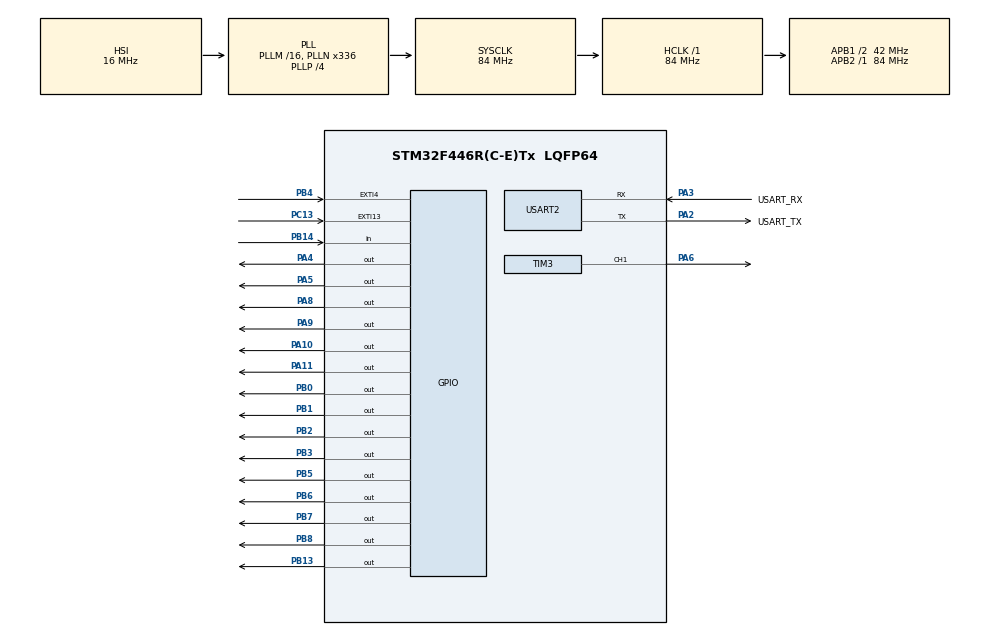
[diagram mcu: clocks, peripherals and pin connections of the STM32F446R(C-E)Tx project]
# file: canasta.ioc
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FREERTOS.Events01=Triple,Dynamic,NULL;Boton,Dynamic,NULL
FREERTOS.Mutexes01=myMutex01,Dynamic,NULL
FREERTOS.Queues01=myQueue01,3,uint8_t*,0,Dynamic,NULL,NULL;queueLeer,1,char*,0,Dynamic,NULL,NULL
FREERTOS.Tasks01=defaultTask,24,256,StartDefaultTask,Default,NULL,Dynamic,NULL,NULL;myTaskADC,8,256,StartTask02,Default,NULL,Dynamic,NULL,NULL;myTask03,8,256,StartTask03,Default,&canastas,Dynamic,NULL,NULL;myTask04,8,256,StartTask04,Default,NULL,Dynamic,NULL,NULL;myTask05,8,128,StartTask05,Default,NULL,Dynamic,NULL,NULL;myTask06,8,256,StartTask06,Default,&canastas,Dynamic,NULL,NULL
Mcu.Family=STM32F4
Mcu.Name=STM32F446R(C-E)Tx
Mcu.Package=LQFP64
NVIC.EXTI15_10_IRQn=true\:5\:0\:false\:false\:true\:true\:true\:true\:true
NVIC.EXTI4_IRQn=true\:5\:0\:false\:false\:true\:true\:true\:true\:true
NVIC.PriorityGroup=NVIC_PRIORITYGROUP_4
NVIC.USART2_IRQn=true\:5\:0\:false\:false\:true\:true\:true\:true\:true
PA0-WKUP.Signal=ADCx_IN0
PA1.Signal=ADCx_IN1
PA10.Signal=GPIO_Output
PA11.Signal=GPIO_Output
PA13.GPIO_Label=TMS
PA13.Mode=Serial_Wire
PA13.Signal=SYS_JTMS-SWDIO
PA14.GPIO_Label=TCK
PA14.Mode=Serial_Wire
PA14.Signal=SYS_JTCK-SWCLK
PA2.GPIO_Label=USART_TX
PA2.Mode=Asynchronous
PA2.Signal=USART2_TX
PA3.GPIO_Label=USART_RX
PA3.Mode=Asynchronous
PA3.Signal=USART2_RX
PA4.Signal=GPIO_Output
PA5.Signal=GPIO_Output
PA6.Signal=S_TIM3_CH1
PA8.Signal=GPIO_Output
PA9.Signal=GPIO_Output
PB0.Signal=GPIO_Output
PB1.Signal=GPIO_Output
PB13.Signal=GPIO_Output
PB14.GPIO_PuPd=GPIO_NOPULL
PB14.Signal=GPIO_Input
PB2.Signal=GPIO_Output
PB3.Signal=GPIO_Output
PB4.GPIO_ModeDefaultEXTI=GPIO_MODE_IT_RISING
PB4.GPIO_PuPd=GPIO_PULLDOWN
PB4.Signal=GPXTI4
PB5.Signal=GPIO_Output
PB6.Signal=GPIO_Output
PB7.Signal=GPIO_Output
PB8.Signal=GPIO_Output
PC13.Signal=GPXTI13
PC14-OSC32_IN.Mode=LSE-External-Oscillator
PC14-OSC32_IN.Signal=RCC_OSC32_IN
PC15-OSC32_OUT.Mode=LSE-External-Oscillator
PC15-OSC32_OUT.Signal=RCC_OSC32_OUT
PH0-OSC_IN.Mode=HSE-External-Oscillator
PH0-OSC_IN.Signal=RCC_OSC_IN
PH1-OSC_OUT.Mode=HSE-External-Oscillator
PH1-OSC_OUT.Signal=RCC_OSC_OUT
ProjectManager.HeapSize=0x200
ProjectManager.StackSize=0x400
ProjectManager.TargetToolchain=STM32CubeIDE
RCC.48MHZClocksFreq_Value=84000000
RCC.AHBFreq_Value=84000000
RCC.APB1CLKDivider=RCC_HCLK_DIV2
RCC.APB1Freq_Value=42000000
RCC.APB1TimFreq_Value=84000000
RCC.APB2Freq_Value=84000000
RCC.APB2TimFreq_Value=84000000
RCC.CortexFreq_Value=84000000
RCC.FLatency-AdvancedSettings=FLASH_LATENCY_2
RCC.HCLKFreq_Value=84000000
RCC.HSE_VALUE=8000000
RCC.HSI_VALUE=16000000
RCC.PLLN=336
RCC.PLLP=RCC_PLLP_DIV4
RCC.SYSCLKFreq_VALUE=84000000
RCC.SYSCLKSource=RCC_SYSCLKSOURCE_PLLCLK
RCC.USBFreq_Value=168000000
RCC.VCOOutputFreq_Value=336000000
SH.ADCx_IN0.0=ADC1_IN0
SH.ADCx_IN1.0=ADC1_IN1
SH.S_TIM3_CH1.0=TIM3_CH1,PWM Generation1 CH1
TIM3.Channel-PWM\ Generation1\ CH1=TIM_CHANNEL_1
TIM3.Prescaler=83
USART2.VirtualMode=VM_ASYNC
VP_FREERTOS_VS_CMSIS_V2.Mode=CMSIS_V2
board=NUCLEO-F446RE

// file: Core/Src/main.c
/* USER CODE BEGIN Header */
/**
 ******************************************************************************
 * @file           : main.c
 * @brief          : Main program body
 ******************************************************************************
 * @attention
 *
 * Copyright (c) 2025 STMicroelectronics.
 * All rights reserved.
 *
 * This software is licensed under terms that can be found in the LICENSE file
 * in the root directory of this software component.
 * If no LICENSE file comes with this software, it is provided AS-IS.
 *
 ******************************************************************************
 */
/* USER CODE END Header */
#include "main.h"
#include "cmsis_os.h"

/* USER CODE BEGIN Includes */
#include "stdio.h"
#include "string.h"
#include "stdlib.h"
/* USER CODE END Includes */

/* USER CODE BEGIN PD */
#define SEG_PORT GPIOB
#define DIG_PORT GPIOA
#define INFLARROJO_PORT GPIOB
#define LEDS_PORT GPIOA

#define SEG_A_PIN  GPIO_PIN_5
#define SEG_B_PIN  GPIO_PIN_7
#define SEG_C_PIN  GPIO_PIN_2
#define SEG_D_PIN  GPIO_PIN_1
#define SEG_E_PIN  GPIO_PIN_0
#define SEG_F_PIN  GPIO_PIN_6
#define SEG_G_PIN  GPIO_PIN_3

#define DIG_1_PIN  GPIO_PIN_9
#define DIG_2_PIN  GPIO_PIN_10
#define DIG_3_PIN  GPIO_PIN_11
#define DIG_4_PIN  GPIO_PIN_8

#define LED_ROJO  GPIO_PIN_4
#define LED_AMARILLO GPIO_PIN_5

#define TRIGGER_PIN GPIO_PIN_13
#define ECHO_PIN GPIO_PIN_14

#define EV_VIB   0x00000001U  // Bit 0
#define EV_PROX  0x00000002U  // Bit 1
#define EV_CANASTA 0x00000004U
#define EV_ACTUALIZA 0x00000008U

#define EV_PULSADO 0x00000001U

/* USER CODE END PD */

TIM_HandleTypeDef htim3;

UART_HandleTypeDef huart2;

/* Definitions for defaultTask */
osThreadId_t defaultTaskHandle;
const osThreadAttr_t defaultTask_attributes = {
  .name = "defaultTask",
  .stack_size = 256 * 4,
  .priority = (osPriority_t) osPriorityNormal,
};
/* Definitions for myTaskADC */
osThreadId_t myTaskADCHandle;
const osThreadAttr_t myTaskADC_attributes = {
  .name = "myTaskADC",
  .stack_size = 256 * 4,
  .priority = (osPriority_t) osPriorityLow,
};
/* Definitions for myTask03 */
osThreadId_t myTask03Handle;
const osThreadAttr_t myTask03_attributes = {
  .name = "myTask03",
  .stack_size = 256 * 4,
  .priority = (osPriority_t) osPriorityLow,
};
/* Definitions for myTask04 */
osThreadId_t myTask04Handle;
const osThreadAttr_t myTask04_attributes = {
  .name = "myTask04",
  .stack_size = 256 * 4,
  .priority = (osPriority_t) osPriorityLow,
};
/* Definitions for myTask05 */
osThreadId_t myTask05Handle;
const osThreadAttr_t myTask05_attributes = {
  .name = "myTask05",
  .stack_size = 128 * 4,
  .priority = (osPriority_t) osPriorityLow,
};
/* Definitions for myTask06 */
osThreadId_t myTask06Handle;
const osThreadAttr_t myTask06_attributes = {
  .name = "myTask06",
  .stack_size = 256 * 4,
  .priority = (osPriority_t) osPriorityLow,
};
/* Definitions for myQueue01 */
osMessageQueueId_t myQueue01Handle;
const osMessageQueueAttr_t myQueue01_attributes = {
  .name = "myQueue01"
};
/* Definitions for queueLeer */
osMessageQueueId_t queueLeerHandle;
const osMessageQueueAttr_t queueLeer_attributes = {
  .name = "queueLeer"
};
/* Definitions for myMutex01 */
osMutexId_t myMutex01Handle;
const osMutexAttr_t myMutex01_attributes = {
  .name = "myMutex01"
};
/* Definitions for Triple */
osEventFlagsId_t TripleHandle;
const osEventFlagsAttr_t Triple_attributes = {
  .name = "Triple"
};
/* Definitions for Boton */
osEventFlagsId_t BotonHandle;
const osEventFlagsAttr_t Boton_attributes = {
  .name = "Boton"
};
/* USER CODE BEGIN PV */
uint8_t rx_buff[1];
/* USER CODE END PV */

void SystemClock_Config(void);
static void MX_GPIO_Init(void);
static void MX_USART2_UART_Init(void);
static void MX_TIM3_Init(void);
void StartDefaultTask(void *argument);
void StartTask02(void *argument);
void StartTask03(void *argument);
void StartTask04(void *argument);
void StartTask05(void *argument);
void StartTask06(void *argument);

/* USER CODE BEGIN 0 */
void SEG_AllOff(void);
void SEG_Show(int digito, uint8_t num);
void SEG_WriteSegments(uint8_t numero);
void Canasta_song(void);
void Boton_song(void);
void Tiempo_song(void);
void tone(uint32_t freq);
void noTone(void);
void HAL_UART_TxCpltCallback(UART_HandleTypeDef *huart);
void HAL_UART_RxCpltCallback(UART_HandleTypeDef *huart);
void HAL_GPIO_EXTI_Callback(uint16_t GPIO_Pin);
int check_prox(void);
uint32_t IR_Trigger(void);
void delay_us(uint32_t us);
/* USER CODE END 0 */

int main(void)
{

  /* MCU Configuration--------------------------------------------------------*/

  /* Reset of all peripherals, Initializes the Flash interface and the Systick. */
  HAL_Init();

  /* USER CODE BEGIN Init */
	// Habilitar contador de ciclos (DWT)
	CoreDebug->DEMCR |= CoreDebug_DEMCR_TRCENA_Msk;
	DWT->CYCCNT = 0;
	DWT->CTRL |= DWT_CTRL_CYCCNTENA_Msk;
  /* USER CODE END Init */

  /* Configure the system clock */
  SystemClock_Config();

  /* Initialize all configured peripherals */
  MX_GPIO_Init();
  MX_USART2_UART_Init();
  MX_TIM3_Init();
  /* USER CODE BEGIN 2 */
	static uint8_t canastas = 0;
	SEG_AllOff();
  /* USER CODE END 2 */

  /* Init scheduler */
  osKernelInitialize();
  /* Create the mutex(es) */
  /* creation of myMutex01 */
  myMutex01Handle = osMutexNew(&myMutex01_attributes);

  /* Create the queue(s) */
  /* creation of myQueue01 */
  myQueue01Handle = osMessageQueueNew (3, sizeof(uint8_t*), &myQueue01_attributes);

  /* creation of queueLeer */
  queueLeerHandle = osMessageQueueNew (1, sizeof(char*), &queueLeer_attributes);

  /* Create the thread(s) */
  /* creation of defaultTask */
  defaultTaskHandle = osThreadNew(StartDefaultTask, NULL, &defaultTask_attributes);

  /* creation of myTaskADC */
  myTaskADCHandle = osThreadNew(StartTask02, NULL, &myTaskADC_attributes);

  /* creation of myTask03 */
  myTask03Handle = osThreadNew(StartTask03, (void*) &canastas, &myTask03_attributes);

  /* creation of myTask04 */
  myTask04Handle = osThreadNew(StartTask04, NULL, &myTask04_attributes);

  /* creation of myTask05 */
  myTask05Handle = osThreadNew(StartTask05, NULL, &myTask05_attributes);

  /* creation of myTask06 */
  myTask06Handle = osThreadNew(StartTask06, (void*) &canastas, &myTask06_attributes);

  /* creation of Triple */
  TripleHandle = osEventFlagsNew(&Triple_attributes);

  /* creation of Boton */
  BotonHandle = osEventFlagsNew(&Boton_attributes);

  /* USER CODE BEGIN RTOS_EVENTS */
	/* add events, ... */
	HAL_UART_Receive_IT(&huart2, rx_buff, 1);
	osEventFlagsSet(BotonHandle, EV_PULSADO);
  /* USER CODE END RTOS_EVENTS */

  /* Start scheduler */
  osKernelStart();

  /* We should never get here as control is now taken by the scheduler */
  /* Infinite loop */
	while (1) {

	}
}

void SystemClock_Config(void)
{
  RCC_OscInitTypeDef RCC_OscInitStruct = {0};
  RCC_ClkInitTypeDef RCC_ClkInitStruct = {0};

  /** Configure the main internal regulator output voltage
  */
  __HAL_RCC_PWR_CLK_ENABLE();
  __HAL_PWR_VOLTAGESCALING_CONFIG(PWR_REGULATOR_VOLTAGE_SCALE3);

  /** Initializes the RCC Oscillators according to the specified parameters
  * in the RCC_OscInitTypeDef structure.
  */
  RCC_OscInitStruct.OscillatorType = RCC_OSCILLATORTYPE_HSI;
  RCC_OscInitStruct.HSIState = RCC_HSI_ON;
  RCC_OscInitStruct.HSICalibrationValue = RCC_HSICALIBRATION_DEFAULT;
  RCC_OscInitStruct.PLL.PLLState = RCC_PLL_ON;
  RCC_OscInitStruct.PLL.PLLSource = RCC_PLLSOURCE_HSI;
  RCC_OscInitStruct.PLL.PLLM = 16;
  RCC_OscInitStruct.PLL.PLLN = 336;
  RCC_OscInitStruct.PLL.PLLP = RCC_PLLP_DIV4;
  RCC_OscInitStruct.PLL.PLLQ = 2;
  RCC_OscInitStruct.PLL.PLLR = 2;
  if (HAL_RCC_OscConfig(&RCC_OscInitStruct) != HAL_OK)
  {
    Error_Handler();
  }

  /** Initializes the CPU, AHB and APB buses clocks
  */
  RCC_ClkInitStruct.ClockType = RCC_CLOCKTYPE_HCLK|RCC_CLOCKTYPE_SYSCLK
                              |RCC_CLOCKTYPE_PCLK1|RCC_CLOCKTYPE_PCLK2;
  RCC_ClkInitStruct.SYSCLKSource = RCC_SYSCLKSOURCE_PLLCLK;
  RCC_ClkInitStruct.AHBCLKDivider = RCC_SYSCLK_DIV1;
  RCC_ClkInitStruct.APB1CLKDivider = RCC_HCLK_DIV2;
  RCC_ClkInitStruct.APB2CLKDivider = RCC_HCLK_DIV1;

  if (HAL_RCC_ClockConfig(&RCC_ClkInitStruct, FLASH_LATENCY_2) != HAL_OK)
  {
    Error_Handler();
  }
}

static void MX_TIM3_Init(void)
{

  TIM_MasterConfigTypeDef sMasterConfig = {0};
  TIM_OC_InitTypeDef sConfigOC = {0};

  htim3.Instance = TIM3;
  htim3.Init.Prescaler = 83;
  htim3.Init.CounterMode = TIM_COUNTERMODE_UP;
  htim3.Init.Period = 65535;
  htim3.Init.ClockDivision = TIM_CLOCKDIVISION_DIV1;
  htim3.Init.AutoReloadPreload = TIM_AUTORELOAD_PRELOAD_DISABLE;
  if (HAL_TIM_PWM_Init(&htim3) != HAL_OK)
  {
    Error_Handler();
  }
  sMasterConfig.MasterOutputTrigger = TIM_TRGO_RESET;
  sMasterConfig.MasterSlaveMode = TIM_MASTERSLAVEMODE_DISABLE;
  if (HAL_TIMEx_MasterConfigSynchronization(&htim3, &sMasterConfig) != HAL_OK)
  {
    Error_Handler();
  }
  sConfigOC.OCMode = TIM_OCMODE_PWM1;
  sConfigOC.Pulse = 0;
  sConfigOC.OCPolarity = TIM_OCPOLARITY_HIGH;
  sConfigOC.OCFastMode = TIM_OCFAST_DISABLE;
  if (HAL_TIM_PWM_ConfigChannel(&htim3, &sConfigOC, TIM_CHANNEL_1) != HAL_OK)
  {
    Error_Handler();
  }
  HAL_TIM_MspPostInit(&htim3);

}

static void MX_USART2_UART_Init(void)
{

  huart2.Instance = USART2;
  huart2.Init.BaudRate = 115200;
  huart2.Init.WordLength = UART_WORDLENGTH_8B;
  huart2.Init.StopBits = UART_STOPBITS_1;
  huart2.Init.Parity = UART_PARITY_NONE;
  huart2.Init.Mode = UART_MODE_TX_RX;
  huart2.Init.HwFlowCtl = UART_HWCONTROL_NONE;
  huart2.Init.OverSampling = UART_OVERSAMPLING_16;
  if (HAL_UART_Init(&huart2) != HAL_OK)
  {
    Error_Handler();
  }

}

static void MX_GPIO_Init(void)
{
  GPIO_InitTypeDef GPIO_InitStruct = {0};

  /* GPIO Ports Clock Enable */
  __HAL_RCC_GPIOC_CLK_ENABLE();
  __HAL_RCC_GPIOH_CLK_ENABLE();
  __HAL_RCC_GPIOA_CLK_ENABLE();
  __HAL_RCC_GPIOB_CLK_ENABLE();

  /*Configure GPIO pin Output Level */
  HAL_GPIO_WritePin(GPIOA, GPIO_PIN_4|GPIO_PIN_5|GPIO_PIN_8|GPIO_PIN_9
                          |GPIO_PIN_10|GPIO_PIN_11, GPIO_PIN_RESET);

  /*Configure GPIO pin Output Level */
  HAL_GPIO_WritePin(GPIOB, GPIO_PIN_0|GPIO_PIN_1|GPIO_PIN_2|GPIO_PIN_13
                          |GPIO_PIN_3|GPIO_PIN_5|GPIO_PIN_6|GPIO_PIN_7
                          |GPIO_PIN_8, GPIO_PIN_RESET);

  /*Configure GPIO pin : PC13 */
  GPIO_InitStruct.Pin = GPIO_PIN_13;
  GPIO_InitStruct.Mode = GPIO_MODE_IT_RISING;
  GPIO_InitStruct.Pull = GPIO_NOPULL;
  HAL_GPIO_Init(GPIOC, &GPIO_InitStruct);

  /*Configure GPIO pins : PA0 PA1 */
  GPIO_InitStruct.Pin = GPIO_PIN_0|GPIO_PIN_1;
  GPIO_InitStruct.Mode = GPIO_MODE_ANALOG;
  GPIO_InitStruct.Pull = GPIO_NOPULL;
  HAL_GPIO_Init(GPIOA, &GPIO_InitStruct);

  /*Configure GPIO pins : PA4 PA5 PA8 PA9
                           PA10 PA11 */
  GPIO_InitStruct.Pin = GPIO_PIN_4|GPIO_PIN_5|GPIO_PIN_8|GPIO_PIN_9
                          |GPIO_PIN_10|GPIO_PIN_11;
  GPIO_InitStruct.Mode = GPIO_MODE_OUTPUT_PP;
  GPIO_InitStruct.Pull = GPIO_NOPULL;
  GPIO_InitStruct.Speed = GPIO_SPEED_FREQ_LOW;
  HAL_GPIO_Init(GPIOA, &GPIO_InitStruct);

  /*Configure GPIO pins : PB0 PB1 PB2 PB13
                           PB3 PB5 PB6 PB7
                           PB8 */
  GPIO_InitStruct.Pin = GPIO_PIN_0|GPIO_PIN_1|GPIO_PIN_2|GPIO_PIN_13
                          |GPIO_PIN_3|GPIO_PIN_5|GPIO_PIN_6|GPIO_PIN_7
                          |GPIO_PIN_8;
  GPIO_InitStruct.Mode = GPIO_MODE_OUTPUT_PP;
  GPIO_InitStruct.Pull = GPIO_NOPULL;
  GPIO_InitStruct.Speed = GPIO_SPEED_FREQ_LOW;
  HAL_GPIO_Init(GPIOB, &GPIO_InitStruct);

  /*Configure GPIO pin : PB14 */
  GPIO_InitStruct.Pin = GPIO_PIN_14;
  GPIO_InitStruct.Mode = GPIO_MODE_INPUT;
  GPIO_InitStruct.Pull = GPIO_NOPULL;
  HAL_GPIO_Init(GPIOB, &GPIO_InitStruct);

  /*Configure GPIO pin : PB4 */
  GPIO_InitStruct.Pin = GPIO_PIN_4;
  GPIO_InitStruct.Mode = GPIO_MODE_IT_RISING;
  GPIO_InitStruct.Pull = GPIO_PULLDOWN;
  HAL_GPIO_Init(GPIOB, &GPIO_InitStruct);

  /* EXTI interrupt init*/
  HAL_NVIC_SetPriority(EXTI4_IRQn, 5, 0);
  HAL_NVIC_EnableIRQ(EXTI4_IRQn);

  HAL_NVIC_SetPriority(EXTI15_10_IRQn, 5, 0);
  HAL_NVIC_EnableIRQ(EXTI15_10_IRQn);

}

/* USER CODE BEGIN 4 */
void SEG_AllOff(void) {
	HAL_GPIO_WritePin((GPIO_TypeDef*) SEG_PORT, SEG_A_PIN, GPIO_PIN_RESET);
	HAL_GPIO_WritePin((GPIO_TypeDef*) SEG_PORT, SEG_B_PIN, GPIO_PIN_RESET);
	HAL_GPIO_WritePin((GPIO_TypeDef*) SEG_PORT, SEG_C_PIN, GPIO_PIN_RESET);
	HAL_GPIO_WritePin((GPIO_TypeDef*) SEG_PORT, SEG_D_PIN, GPIO_PIN_RESET);
	HAL_GPIO_WritePin((GPIO_TypeDef*) SEG_PORT, SEG_E_PIN, GPIO_PIN_RESET);
	HAL_GPIO_WritePin((GPIO_TypeDef*) SEG_PORT, SEG_F_PIN, GPIO_PIN_RESET);
	HAL_GPIO_WritePin((GPIO_TypeDef*) SEG_PORT, SEG_G_PIN, GPIO_PIN_RESET);
	HAL_GPIO_WritePin((GPIO_TypeDef*) DIG_PORT, DIG_1_PIN, GPIO_PIN_SET);
	HAL_GPIO_WritePin((GPIO_TypeDef*) DIG_PORT, DIG_2_PIN, GPIO_PIN_SET);
	HAL_GPIO_WritePin((GPIO_TypeDef*) DIG_PORT, DIG_3_PIN, GPIO_PIN_SET);
	HAL_GPIO_WritePin((GPIO_TypeDef*) DIG_PORT, DIG_4_PIN, GPIO_PIN_SET);
}

void SEG_Show(int digito, uint8_t num) {

	SEG_AllOff();

	switch (digito) {
	case 0: // Primer dígito (más a la izquierda)
		HAL_GPIO_WritePin((GPIO_TypeDef*) DIG_PORT, DIG_1_PIN, GPIO_PIN_RESET);
		break;
	case 1: // Segundo dígito
		HAL_GPIO_WritePin((GPIO_TypeDef*) DIG_PORT, DIG_2_PIN, GPIO_PIN_RESET);
		break;
	case 2: // Tercer dígito
		HAL_GPIO_WritePin((GPIO_TypeDef*) DIG_PORT, DIG_3_PIN, GPIO_PIN_RESET);
		break;
	case 3: // Cuarto dígito (más a la derecha)
		HAL_GPIO_WritePin((GPIO_TypeDef*) DIG_PORT, DIG_4_PIN, GPIO_PIN_RESET);
		break;
	default:
		break;
	}

	SEG_WriteSegments(num);

}

void SEG_WriteSegments(uint8_t numero) {

	numero = numero > 9 ? 0 : numero;

	switch (numero) {
	case 0:
		HAL_GPIO_WritePin(SEG_PORT, SEG_A_PIN, GPIO_PIN_SET);
		HAL_GPIO_WritePin(SEG_PORT, SEG_B_PIN, GPIO_PIN_SET);
		HAL_GPIO_WritePin(SEG_PORT, SEG_C_PIN, GPIO_PIN_SET);
		HAL_GPIO_WritePin(SEG_PORT, SEG_D_PIN, GPIO_PIN_SET);
		HAL_GPIO_WritePin(SEG_PORT, SEG_E_PIN, GPIO_PIN_SET);
		HAL_GPIO_WritePin(SEG_PORT, SEG_F_PIN, GPIO_PIN_SET);
		break;

	case 1:
		HAL_GPIO_WritePin(SEG_PORT, SEG_B_PIN, GPIO_PIN_SET);
		HAL_GPIO_WritePin(SEG_PORT, SEG_C_PIN, GPIO_PIN_SET);
		break;

	case 2:
		HAL_GPIO_WritePin(SEG_PORT, SEG_A_PIN, GPIO_PIN_SET);
		HAL_GPIO_WritePin(SEG_PORT, SEG_B_PIN, GPIO_PIN_SET);
		HAL_GPIO_WritePin(SEG_PORT, SEG_G_PIN, GPIO_PIN_SET);
		HAL_GPIO_WritePin(SEG_PORT, SEG_E_PIN, GPIO_PIN_SET);
		HAL_GPIO_WritePin(SEG_PORT, SEG_D_PIN, GPIO_PIN_SET);
		break;

	case 3:
		HAL_GPIO_WritePin(SEG_PORT, SEG_A_PIN, GPIO_PIN_SET);
		HAL_GPIO_WritePin(SEG_PORT, SEG_B_PIN, GPIO_PIN_SET);
		HAL_GPIO_WritePin(SEG_PORT, SEG_G_PIN, GPIO_PIN_SET);
		HAL_GPIO_WritePin(SEG_PORT, SEG_C_PIN, GPIO_PIN_SET);
		HAL_GPIO_WritePin(SEG_PORT, SEG_D_PIN, GPIO_PIN_SET);
		break;

	case 4:
		HAL_GPIO_WritePin(SEG_PORT, SEG_F_PIN, GPIO_PIN_SET);
		HAL_GPIO_WritePin(SEG_PORT, SEG_G_PIN, GPIO_PIN_SET);
		HAL_GPIO_WritePin(SEG_PORT, SEG_B_PIN, GPIO_PIN_SET);
		HAL_GPIO_WritePin(SEG_PORT, SEG_C_PIN, GPIO_PIN_SET);
		break;

	case 5:
		HAL_GPIO_WritePin(SEG_PORT, SEG_A_PIN, GPIO_PIN_SET);
		HAL_GPIO_WritePin(SEG_PORT, SEG_F_PIN, GPIO_PIN_SET);
		HAL_GPIO_WritePin(SEG_PORT, SEG_G_PIN, GPIO_PIN_SET);
		HAL_GPIO_WritePin(SEG_PORT, SEG_C_PIN, GPIO_PIN_SET);
		HAL_GPIO_WritePin(SEG_PORT, SEG_D_PIN, GPIO_PIN_SET);
		break;

	case 6:
		HAL_GPIO_WritePin(SEG_PORT, SEG_A_PIN, GPIO_PIN_SET);
		HAL_GPIO_WritePin(SEG_PORT, SEG_F_PIN, GPIO_PIN_SET);
		HAL_GPIO_WritePin(SEG_PORT, SEG_E_PIN, GPIO_PIN_SET);
		HAL_GPIO_WritePin(SEG_PORT, SEG_D_PIN, GPIO_PIN_SET);
		HAL_GPIO_WritePin(SEG_PORT, SEG_C_PIN, GPIO_PIN_SET);
		HAL_GPIO_WritePin(SEG_PORT, SEG_G_PIN, GPIO_PIN_SET);
		break;

	case 7:
		HAL_GPIO_WritePin(SEG_PORT, SEG_A_PIN, GPIO_PIN_SET);
		HAL_GPIO_WritePin(SEG_PORT, SEG_B_PIN, GPIO_PIN_SET);
		HAL_GPIO_WritePin(SEG_PORT, SEG_C_PIN, GPIO_PIN_SET);
		break;

	case 8:
		HAL_GPIO_WritePin(SEG_PORT, SEG_A_PIN, GPIO_PIN_SET);
		HAL_GPIO_WritePin(SEG_PORT, SEG_B_PIN, GPIO_PIN_SET);
		HAL_GPIO_WritePin(SEG_PORT, SEG_C_PIN, GPIO_PIN_SET);
		HAL_GPIO_WritePin(SEG_PORT, SEG_D_PIN, GPIO_PIN_SET);
		HAL_GPIO_WritePin(SEG_PORT, SEG_E_PIN, GPIO_PIN_SET);
		HAL_GPIO_WritePin(SEG_PORT, SEG_F_PIN, GPIO_PIN_SET);
		HAL_GPIO_WritePin(SEG_PORT, SEG_G_PIN, GPIO_PIN_SET);
		break;

	case 9:
		HAL_GPIO_WritePin(SEG_PORT, SEG_A_PIN, GPIO_PIN_SET);
		HAL_GPIO_WritePin(SEG_PORT, SEG_B_PIN, GPIO_PIN_SET);
		HAL_GPIO_WritePin(SEG_PORT, SEG_C_PIN, GPIO_PIN_SET);
		HAL_GPIO_WritePin(SEG_PORT, SEG_D_PIN, GPIO_PIN_SET);
		HAL_GPIO_WritePin(SEG_PORT, SEG_F_PIN, GPIO_PIN_SET);
		HAL_GPIO_WritePin(SEG_PORT, SEG_G_PIN, GPIO_PIN_SET);
		break;

	default:
		break;
	}

}

// Canción de acierto de canasta
void Canasta_song(void) {
	tone(392);   // sol grave
	osDelay(200);

	tone(523);   // Do
	osDelay(200);

	tone(659);   // Mi
	osDelay(200);

	tone(784);   // Sol
	osDelay(350);

	tone(659);   // Mi
	osDelay(200);

	tone(784);   // Sol
	osDelay(550);

	noTone();
}

// Canción de reseteo a través del botón externo
void Boton_song(void) {
	tone(523);  //do
	osDelay(300);

	tone(784);  //sol
	osDelay(300);

	tone(659);  //mi
	osDelay(300);

	noTone();
}

//Para hacer cantar al buzzer variamos la frecuencia
void tone(uint32_t freq) {
	uint32_t arr = (1000000 / freq) - 1;

	__HAL_TIM_SET_AUTORELOAD(&htim3, arr);
	__HAL_TIM_SET_COMPARE(&htim3, TIM_CHANNEL_1, arr / 2);

	HAL_TIM_PWM_Start(&htim3, TIM_CHANNEL_1);
}

void noTone(void) {
	HAL_TIM_PWM_Stop(&htim3, TIM_CHANNEL_1);
}

//Interrupción del sensor de vibración
void HAL_GPIO_EXTI_Callback(uint16_t GPIO_Pin) {
	if (GPIO_Pin == GPIO_PIN_13) // sensor en PA0
	{
		osEventFlagsSet(TripleHandle, EV_VIB);
	} else if (GPIO_Pin == GPIO_PIN_4)  //boton
	{
		osEventFlagsSet(BotonHandle, EV_PULSADO);
	}
}

void delay_us(uint32_t us) {
	uint32_t start = DWT->CYCCNT;
	uint32_t cycles = us * 84;  // 84MHz = 84 ciclos/µs

	while ((DWT->CYCCNT - start) < cycles)
		;
}

// Función para generar pulso de trigger
uint32_t IR_Trigger(void) {
//	char buf[64];
	uint32_t t_us = 0;
	HAL_GPIO_WritePin(GPIOB, TRIGGER_PIN, GPIO_PIN_RESET);
	delay_us(200);

	// 1. Generar pulso trigger
	HAL_GPIO_WritePin(GPIOB, TRIGGER_PIN, GPIO_PIN_SET);
	delay_us(80); // ~10us
	HAL_GPIO_WritePin(GPIOB, TRIGGER_PIN, GPIO_PIN_RESET);

	// 2. Esperar flanco de subida en Echo
	while (HAL_GPIO_ReadPin(GPIOB, ECHO_PIN) == GPIO_PIN_RESET)
		;

	// 3. Marcar tiempo de inicio
	uint32_t start = DWT->CYCCNT;

	// 4. Esperar flanco de bajada en Echo
	while (HAL_GPIO_ReadPin(GPIOB, ECHO_PIN) == GPIO_PIN_SET)
		;

	// 5. Marcar tiempo de fin
	uint32_t end = DWT->CYCCNT;

	// 6. Calcular duración en microsegundos
	t_us = (end - start) / (SystemCoreClock / 1000000);

	return t_us;

}

void HAL_UART_TxCpltCallback(UART_HandleTypeDef *huart) { // solo se activa con los TRANSMIT_IT o _DMA

}

void HAL_UART_RxCpltCallback(UART_HandleTypeDef *huart) {
	static char comando_buffer[5];  // Buffer LOCAL para acumular
	static uint8_t idx = 0;

	if (huart->Instance == USART2) {
		//Recibimos de 1 en 1 asi que hay que detectar cuando llega el enter
		char c = rx_buff[0];  // Carácter recibido

		// Si es \0 (tecla Enter = \r)
		if (c == '\n') {
			if (idx > 0) {  // Si hay algo acumulado
				comando_buffer[idx] = '\0';  // Terminar string

				// IMPORTANTE: Crear copia para la cola
				char copia[5];
				strcpy(copia, comando_buffer);
				osMessageQueuePut(queueLeerHandle, copia, 0, 0);
				idx = 0;  // Resetear
			}
		}

		else if (idx < 5) {  // Si no es ENTER y hay espacio
			comando_buffer[idx] = c;
			idx++;
		} else { // Si buffer lleno (más de 5 chars sin ENTER)
			idx = 0;  // Descartar
		}

		HAL_UART_Receive_IT(&huart2, rx_buff, 1);
	}
}

/* USER CODE END 4 */

/* USER CODE BEGIN Header_StartDefaultTask */
/**
 * @brief  Tarea encargada de asegurar que es canasta y activar los eventos asociados
 * Enciende el led y hace sonar la canción
 * @retval None
 */
/* USER CODE END Header_StartDefaultTask */
void StartDefaultTask(void *argument)
{
  /* USER CODE BEGIN 5 */
	/* Infinite loop */
	for (;;) {
		HAL_GPIO_WritePin(LEDS_PORT, LED_AMARILLO, GPIO_PIN_RESET);
		osEventFlagsWait(TripleHandle, EV_VIB, osFlagsWaitAny, osWaitForever);
		// Tras vibración, espera pelota (ventana medio segundo)
		uint32_t res = osEventFlagsWait(TripleHandle, EV_PROX, osFlagsWaitAny, 50);
		if (res == EV_PROX) {
			HAL_GPIO_WritePin(LEDS_PORT, LED_AMARILLO, GPIO_PIN_SET);
			osEventFlagsSet(TripleHandle, EV_CANASTA);
			Canasta_song();
		}

		osDelay(200);
	}
  /* USER CODE END 5 */
}

/* USER CODE BEGIN Header_StartTask02 */
/**
 * @brief Sensor ultrasónico de distancia. Detecta si la pelota ha pasado por delante
 * @param argument: Not used
 * @retval None
 */
/* USER CODE END Header_StartTask02 */
void StartTask02(void *argument)
{
  /* USER CODE BEGIN StartTask02 */
	static uint32_t last_prox_time = 0;
	static uint8_t pelota_cerca = 0;

	/* Infinite loop */
	for (;;) {

		uint32_t current_time = osKernelGetTickCount();
		uint32_t us = IR_Trigger();

//	  pelota cerca
		if ((us > 150) && (us < 900)) {
			if (!pelota_cerca) {
				osEventFlagsSet(TripleHandle, EV_PROX);
				pelota_cerca = 1;
			}
			last_prox_time = current_time;
		}
		else { //Si pasa tiempo sin detectar pelota, limpiamos flag
			if (pelota_cerca && (current_time - last_prox_time) > 100) {
				osEventFlagsClear(TripleHandle, EV_PROX);
				pelota_cerca = 0;
			}
		}

		osDelay(100);

	}
  /* USER CODE END StartTask02 */
}

/* USER CODE BEGIN Header_StartTask03 */
/**
 * @brief Encargado del valor del contador de canastas
 * @param argument: canastas
 * @retval None
 */
/* USER CODE END Header_StartTask03 */
void StartTask03(void *argument)
{
  /* USER CODE BEGIN StartTask03 */
	uint8_t *canastas = (uint8_t*) argument;
	static int actualizar = 0;
	static uint8_t tope = (uint8_t) 9999;
	static char prueba[5];
	char *buffer;
	/* Infinite loop */
	for (;;) {

		uint32_t res = osEventFlagsWait(TripleHandle, EV_CANASTA, osFlagsWaitAny, 10);
		if (res == EV_CANASTA) {
			osMutexAcquire(myMutex01Handle, osWaitForever);
			*canastas += 1;
			*canastas = *canastas >= tope ? 0 : *canastas;
			osMutexRelease(myMutex01Handle);
			actualizar = 1;
		}

		res = osEventFlagsWait(BotonHandle, EV_PULSADO, osFlagsWaitAny, 10);
		if (res == EV_PULSADO) {
			osMutexAcquire(myMutex01Handle, osWaitForever);
			*canastas = 0;
			osMutexRelease(myMutex01Handle);
			actualizar = 1;
		}

		if (actualizar) {
			if (osMessageQueuePut(myQueue01Handle, canastas, 0, osWaitForever) == osOK) {
				osEventFlagsSet(TripleHandle, EV_ACTUALIZA);
			}
			actualizar = 0;
		}

		if (osMessageQueueGetCount(queueLeerHandle) > 0) {

			if (osMessageQueueGet(queueLeerHandle, prueba, NULL, 0) == osOK) {
				buffer = (char*) prueba;

				if (buffer[0] == 'R' || buffer[0] == 'r') {
					osEventFlagsSet(BotonHandle, EV_PULSADO);
				}

				else {
					tope = strtol(prueba, NULL, 10);
					if (tope != 0){
						osMutexAcquire(myMutex01Handle, osWaitForever);
						*canastas = *canastas >= tope ? 0 : (*canastas);
						osMutexRelease(myMutex01Handle);
						if (*canastas == 0)
							osEventFlagsSet(BotonHandle, EV_PULSADO);
					}
				}
			}
		}

	}
	osDelay(1);

  /* USER CODE END StartTask03 */
}

/* USER CODE BEGIN Header_StartTask04 */
/**
 * @brief Consulta si se pulsa el botón externo
 * @param argument: Not used
 * @retval None
 */
/* USER CODE END Header_StartTask04 */
void StartTask04(void *argument)
{
  /* USER CODE BEGIN StartTask04 */
	GPIO_PinState bt4_estado_anterior = GPIO_PIN_RESET;
	GPIO_PinState bt4_estado;
	/* Infinite loop */
	for (;;) {
		bt4_estado = HAL_GPIO_ReadPin(GPIOB, GPIO_PIN_4);
		if (bt4_estado == GPIO_PIN_SET && bt4_estado_anterior == GPIO_PIN_RESET) {
			osEventFlagsSet(BotonHandle, EV_PULSADO);
			Boton_song();
		}
		bt4_estado_anterior = bt4_estado;

		osDelay(10);
	}
  /* USER CODE END StartTask04 */
}

/* USER CODE BEGIN Header_StartTask05 */
/**
 * @brief Encargada de escribir por la UART
 * @param argument: Not used
 * @retval None
 */
/* USER CODE END Header_StartTask05 */
void StartTask05(void *argument)
{
  /* USER CODE BEGIN StartTask05 */
	uint8_t valor;
	char buffer[4];
	/* Infinite loop */
	for (;;) {
		osEventFlagsWait(TripleHandle, EV_ACTUALIZA, osFlagsWaitAny, osWaitForever);
			if (osMessageQueueGetCount(myQueue01Handle) > 0) {
				if (osMessageQueueGet(myQueue01Handle, &valor, NULL, osWaitForever)	== osOK) {
					sprintf(buffer, "%d\r\n", valor);
					HAL_UART_Transmit(&huart2, (uint8_t*) buffer, strlen(buffer), osWaitForever);
				}
			}

		osDelay(1);
	}
  /* USER CODE END StartTask05 */
}

/* USER CODE BEGIN Header_StartTask06 */
/**
 * @brief Encargada del display de 7 segmentos
 * @param argument: Not used
 * @retval None
 */
/* USER CODE END Header_StartTask06 */
void StartTask06(void *argument)
{
  /* USER CODE BEGIN StartTask06 */
	static int nums[4] = { 0 };
	uint8_t *canastas = (uint8_t*) argument;
	uint8_t copia_canastas;
	/* Infinite loop */
	for (;;) {
		if (osMutexAcquire(myMutex01Handle, 0) == osOK) {
			copia_canastas = *canastas;
			osMutexRelease(myMutex01Handle);
		}

		nums[0] = copia_canastas / 1000;
		nums[1] = (copia_canastas / 100) % 10;
		nums[2] = (copia_canastas / 10) % 10;
		nums[3] = copia_canastas % 10;

		for (int i = 0; i < 4; i++) {
			SEG_Show(i, nums[i]);
			osDelay(2);
		}

	}
  /* USER CODE END StartTask06 */
}

void Error_Handler(void)
{
	__disable_irq();
	while (1) {
	}
}
